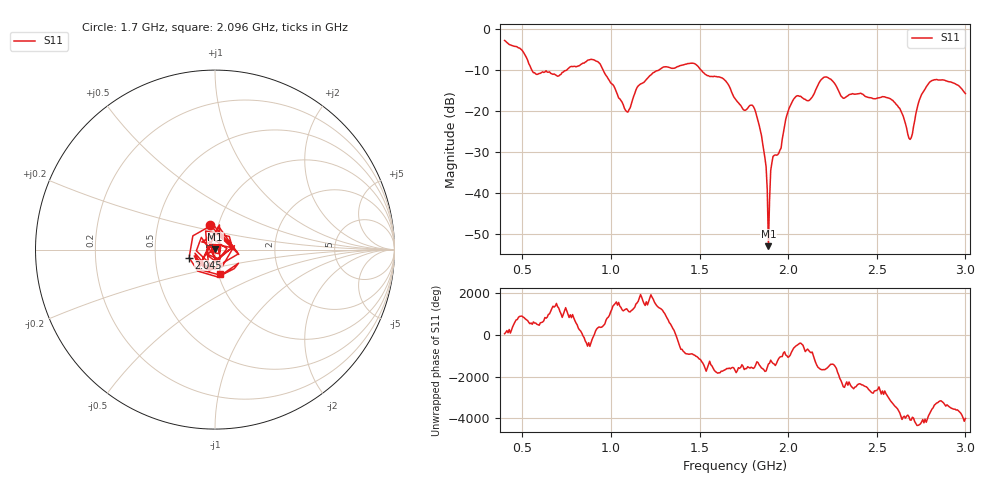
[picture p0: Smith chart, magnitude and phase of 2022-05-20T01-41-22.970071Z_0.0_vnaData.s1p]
!Created with skrf (http://scikit-rf.org).
# Hz S RI R 50.0
!freq ReS11 ImS11
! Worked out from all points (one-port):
!   401 points, 400 MHz to 3 GHz, reference 50 ohm
!   lowest |S11| = -52.9 dB at 1.889 GHz (marker M1), VSWR 1.00, Z = 50.2 + j0.155 ohm
!   |S11| at or under -10 dB: 553.4 MHz to 751.2 MHz (197.8 MHz wide, 30.3 % of centre); 954.9 MHz to 1.271 GHz (316.4 MHz wide, 28.4 % of centre); 1.508 GHz to end of sweep
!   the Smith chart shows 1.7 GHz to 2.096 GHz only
!   S11 on the Smith chart (normalised r, x): 1.7 GHz: 0.91, +0.26; 2.045 GHz: 0.75, -0.07; 2.096 GHz: 1.02, -0.28
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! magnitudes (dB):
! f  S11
! 400 MHz  -2.8
! 575.5 MHz  -11.0
! 725 MHz  -10.6
! 913.5 MHz  -7.8
! 1.05 GHz  -17.0
! 1.095 GHz  -20.3
! 1.226 GHz  -11.2
! 1.375 GHz  -9.2
! 1.629 GHz  -12.0
! 1.7 GHz  -17.0
! 1.817 GHz  -20.3
! 1.863 GHz  -29.6
! 1.875 GHz  -33.6
! 1.889 GHz  -52.9
! 1.901 GHz  -34.5
! 1.915 GHz  -31.1
! 1.954 GHz  -29.5
! 2.025 GHz  -17.6
! 2.045 GHz  -16.4
! 2.096 GHz  -17.2
! 2.207 GHz  -11.7
! 2.35 GHz  -15.9
! 2.578 GHz  -17.0
! 2.675 GHz  -25.6
! 2.695 GHz  -26.5
! 2.747 GHz  -16.6
! 2.805 GHz  -12.8
! 3 GHz  -15.7
